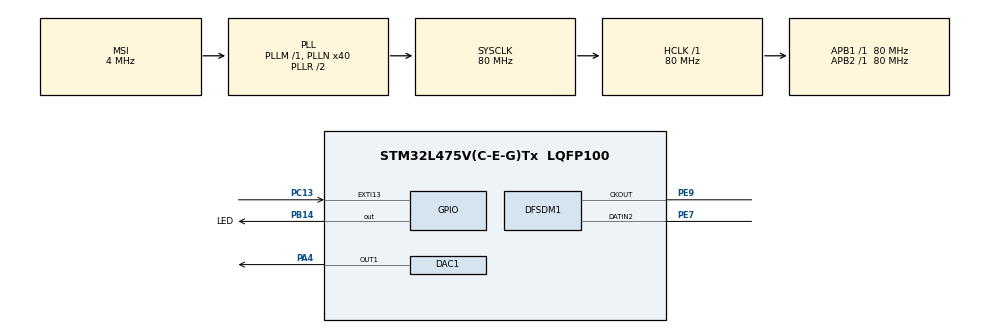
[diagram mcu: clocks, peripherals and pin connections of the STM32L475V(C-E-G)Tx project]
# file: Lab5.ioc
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DAC1.DAC_Trigger-DAC_OUT1=DAC_TRIGGER_T2_TRGO
DFSDM1.Divider=40
DFSDM1.DmaMode_reg_FIL0=ENABLE
DFSDM1.FastMode_reg_FIL0=ENABLE
DFSDM1.Filter_injChannel2_FIL0=__NULL
DFSDM1.Filter_regChannel_FIL0=DFSDM_CHANNEL_2
DFSDM1.Filter_regChannel_FIL1=__NULL
DFSDM1.Fosr_FIL0=500
DFSDM1.SincOrder_FIL0=DFSDM_FILTER_SINC1_ORDER
Dma.DAC_CH1.1.Direction=DMA_MEMORY_TO_PERIPH
Dma.DAC_CH1.1.Instance=DMA1_Channel3
Dma.DAC_CH1.1.MemDataAlignment=DMA_MDATAALIGN_WORD
Dma.DAC_CH1.1.MemInc=DMA_MINC_ENABLE
Dma.DAC_CH1.1.Mode=DMA_CIRCULAR
Dma.DAC_CH1.1.PeriphDataAlignment=DMA_PDATAALIGN_WORD
Dma.DAC_CH1.1.PeriphInc=DMA_PINC_DISABLE
Dma.DAC_CH1.1.Priority=DMA_PRIORITY_LOW
Dma.DFSDM1_FLT0.0.Direction=DMA_PERIPH_TO_MEMORY
Dma.DFSDM1_FLT0.0.Instance=DMA1_Channel4
Dma.DFSDM1_FLT0.0.MemDataAlignment=DMA_MDATAALIGN_WORD
Dma.DFSDM1_FLT0.0.MemInc=DMA_MINC_ENABLE
Dma.DFSDM1_FLT0.0.Mode=DMA_CIRCULAR
Dma.DFSDM1_FLT0.0.PeriphDataAlignment=DMA_PDATAALIGN_WORD
Dma.DFSDM1_FLT0.0.PeriphInc=DMA_PINC_DISABLE
Dma.DFSDM1_FLT0.0.Priority=DMA_PRIORITY_LOW
Dma.Request0=DFSDM1_FLT0
Dma.Request1=DAC_CH1
Mcu.Family=STM32L4
Mcu.Name=STM32L475V(C-E-G)Tx
Mcu.Package=LQFP100
NVIC.DMA1_Channel3_IRQn=true\:0\:0\:false\:false\:true\:false\:true
NVIC.DMA1_Channel4_IRQn=true\:0\:0\:false\:false\:true\:false\:true
NVIC.EXTI15_10_IRQn=true\:0\:0\:false\:false\:true\:true\:true
NVIC.PriorityGroup=NVIC_PRIORITYGROUP_4
NVIC.TIM2_IRQn=true\:0\:0\:false\:false\:true\:true\:true
PA4.Signal=COMP_DAC11_group
PB14.GPIO_Label=LED
PB14.Signal=GPIO_Output
PC13.Signal=GPXTI13
PE7.Signal=S_DATAIN2DFSDM1
PE9.Signal=S_CKOUTDFSDM1
ProjectManager.HeapSize=0x200
ProjectManager.StackSize=0x400
ProjectManager.TargetToolchain=STM32CubeIDE
RCC.ADCFreq_Value=48000000
RCC.AHBFreq_Value=80000000
RCC.APB1Freq_Value=80000000
RCC.APB1TimFreq_Value=80000000
RCC.APB2Freq_Value=80000000
RCC.APB2TimFreq_Value=80000000
RCC.CortexFreq_Value=80000000
RCC.HCLKFreq_Value=80000000
RCC.HSE_VALUE=8000000
RCC.HSI_VALUE=16000000
RCC.LSE_VALUE=32768
RCC.MSI_VALUE=4000000
RCC.PLLN=40
RCC.PLLSAI1N=24
RCC.SYSCLKFreq_VALUE=80000000
RCC.SYSCLKSource=RCC_SYSCLKSOURCE_PLLCLK
RCC.USBFreq_Value=48000000
RCC.VCOOutputFreq_Value=160000000
SH.COMP_DAC11_group.0=DAC1_OUT1,DAC_OUT1
SH.S_CKOUTDFSDM1.0=DFSDM1_CKOUT,PDM_SPI_input_from_ch2_and_internal_clock
SH.S_CKOUTDFSDM1.1=DFSDM1_CKOUT,CKOUT
SH.S_DATAIN2DFSDM1.0=DFSDM1_DATIN2,PDM_SPI_input_from_ch2_and_internal_clock
TIM2.Period=20000
TIM2.TIM_MasterOutputTrigger=TIM_TRGO_UPDATE
VP_TIM2_VS_ClockSourceINT.Mode=Internal
board=B-L475E-IOT01A1

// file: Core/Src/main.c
/* USER CODE BEGIN Header */
/**
  ******************************************************************************
  * @file           : main.c
  * @brief          : Main program body
  ******************************************************************************
  * @attention
  *
  * <h2><center>&copy; Copyright (c) 2020 STMicroelectronics.
  * All rights reserved.</center></h2>
  *
  * This software component is licensed by ST under BSD 3-Clause license,
  * the "License"; You may not use this file except in compliance with the
  * License. You may obtain a copy of the License at:
  *                        opensource.org/licenses/BSD-3-Clause
  *
  ******************************************************************************
  */
/* USER CODE END Header */
#include "main.h"

DAC_HandleTypeDef hdac1;
DMA_HandleTypeDef hdma_dac_ch1;

DFSDM_Filter_HandleTypeDef hdfsdm1_filter0;
DFSDM_Channel_HandleTypeDef hdfsdm1_channel2;
DMA_HandleTypeDef hdma_dfsdm1_flt0;

TIM_HandleTypeDef htim2;

/* USER CODE BEGIN PV */
#define LENGTH	12000
int32_t record[LENGTH];
uint32_t play[LENGTH];
int recording = 0;

/* USER CODE END PV */

void SystemClock_Config(void);
static void MX_GPIO_Init(void);
static void MX_DMA_Init(void);
static void MX_DAC1_Init(void);
static void MX_DFSDM1_Init(void);
static void MX_TIM2_Init(void);

int main(void)
{
  /* USER CODE BEGIN 1 */
//uint16_t i = 0;
  /* USER CODE END 1 */

  /* MCU Configuration--------------------------------------------------------*/

  /* Reset of all peripherals, Initializes the Flash interface and the Systick. */
  HAL_Init();

  /* Configure the system clock */
  SystemClock_Config();

  /* Initialize all configured peripherals */
  MX_GPIO_Init();
  MX_DMA_Init();
  MX_DAC1_Init();
  MX_DFSDM1_Init();
  MX_TIM2_Init();
  /* USER CODE BEGIN 2 */
  /* USER CODE BEGIN 2 */
  HAL_TIM_Base_Start_IT(&htim2);

  /* USER CODE END 2 */

  /* Infinite loop */
  while (1)
  {

  }
}

void SystemClock_Config(void)
{
  RCC_OscInitTypeDef RCC_OscInitStruct = {0};
  RCC_ClkInitTypeDef RCC_ClkInitStruct = {0};
  RCC_PeriphCLKInitTypeDef PeriphClkInit = {0};

  /** Initializes the RCC Oscillators according to the specified parameters
  * in the RCC_OscInitTypeDef structure.
  */
  RCC_OscInitStruct.OscillatorType = RCC_OSCILLATORTYPE_MSI;
  RCC_OscInitStruct.MSIState = RCC_MSI_ON;
  RCC_OscInitStruct.MSICalibrationValue = 0;
  RCC_OscInitStruct.MSIClockRange = RCC_MSIRANGE_6;
  RCC_OscInitStruct.PLL.PLLState = RCC_PLL_ON;
  RCC_OscInitStruct.PLL.PLLSource = RCC_PLLSOURCE_MSI;
  RCC_OscInitStruct.PLL.PLLM = 1;
  RCC_OscInitStruct.PLL.PLLN = 40;
  RCC_OscInitStruct.PLL.PLLP = RCC_PLLP_DIV7;
  RCC_OscInitStruct.PLL.PLLQ = RCC_PLLQ_DIV2;
  RCC_OscInitStruct.PLL.PLLR = RCC_PLLR_DIV2;
  if (HAL_RCC_OscConfig(&RCC_OscInitStruct) != HAL_OK)
  {
    Error_Handler();
  }
  /** Initializes the CPU, AHB and APB buses clocks
  */
  RCC_ClkInitStruct.ClockType = RCC_CLOCKTYPE_HCLK|RCC_CLOCKTYPE_SYSCLK
                              |RCC_CLOCKTYPE_PCLK1|RCC_CLOCKTYPE_PCLK2;
  RCC_ClkInitStruct.SYSCLKSource = RCC_SYSCLKSOURCE_PLLCLK;
  RCC_ClkInitStruct.AHBCLKDivider = RCC_SYSCLK_DIV1;
  RCC_ClkInitStruct.APB1CLKDivider = RCC_HCLK_DIV1;
  RCC_ClkInitStruct.APB2CLKDivider = RCC_HCLK_DIV1;

  if (HAL_RCC_ClockConfig(&RCC_ClkInitStruct, FLASH_LATENCY_4) != HAL_OK)
  {
    Error_Handler();
  }
  PeriphClkInit.PeriphClockSelection = RCC_PERIPHCLK_DFSDM1;
  PeriphClkInit.Dfsdm1ClockSelection = RCC_DFSDM1CLKSOURCE_PCLK;
  if (HAL_RCCEx_PeriphCLKConfig(&PeriphClkInit) != HAL_OK)
  {
    Error_Handler();
  }
  /** Configure the main internal regulator output voltage
  */
  if (HAL_PWREx_ControlVoltageScaling(PWR_REGULATOR_VOLTAGE_SCALE1) != HAL_OK)
  {
    Error_Handler();
  }
}

static void MX_DAC1_Init(void)
{

  DAC_ChannelConfTypeDef sConfig = {0};

  /** DAC Initialization
  */
  hdac1.Instance = DAC1;
  if (HAL_DAC_Init(&hdac1) != HAL_OK)
  {
    Error_Handler();
  }
  /** DAC channel OUT1 config
  */
  sConfig.DAC_SampleAndHold = DAC_SAMPLEANDHOLD_DISABLE;
  sConfig.DAC_Trigger = DAC_TRIGGER_T2_TRGO;
  sConfig.DAC_OutputBuffer = DAC_OUTPUTBUFFER_ENABLE;
  sConfig.DAC_ConnectOnChipPeripheral = DAC_CHIPCONNECT_DISABLE;
  sConfig.DAC_UserTrimming = DAC_TRIMMING_FACTORY;
  if (HAL_DAC_ConfigChannel(&hdac1, &sConfig, DAC_CHANNEL_1) != HAL_OK)
  {
    Error_Handler();
  }

}

static void MX_DFSDM1_Init(void)
{

  hdfsdm1_filter0.Instance = DFSDM1_Filter0;
  hdfsdm1_filter0.Init.RegularParam.Trigger = DFSDM_FILTER_SW_TRIGGER;
  hdfsdm1_filter0.Init.RegularParam.FastMode = ENABLE;
  hdfsdm1_filter0.Init.RegularParam.DmaMode = ENABLE;
  hdfsdm1_filter0.Init.FilterParam.SincOrder = DFSDM_FILTER_FASTSINC_ORDER;
  hdfsdm1_filter0.Init.FilterParam.Oversampling = 200;
  hdfsdm1_filter0.Init.FilterParam.IntOversampling = 1;
  if (HAL_DFSDM_FilterInit(&hdfsdm1_filter0) != HAL_OK)
  {
    Error_Handler();
  }
  hdfsdm1_channel2.Instance = DFSDM1_Channel2;
  hdfsdm1_channel2.Init.OutputClock.Activation = ENABLE;
  hdfsdm1_channel2.Init.OutputClock.Selection = DFSDM_CHANNEL_OUTPUT_CLOCK_SYSTEM;
  hdfsdm1_channel2.Init.OutputClock.Divider = 25;
  hdfsdm1_channel2.Init.Input.Multiplexer = DFSDM_CHANNEL_EXTERNAL_INPUTS;
  hdfsdm1_channel2.Init.Input.DataPacking = DFSDM_CHANNEL_STANDARD_MODE;
  hdfsdm1_channel2.Init.Input.Pins = DFSDM_CHANNEL_SAME_CHANNEL_PINS;
  hdfsdm1_channel2.Init.SerialInterface.Type = DFSDM_CHANNEL_SPI_RISING;
  hdfsdm1_channel2.Init.SerialInterface.SpiClock = DFSDM_CHANNEL_SPI_CLOCK_INTERNAL;
  hdfsdm1_channel2.Init.Awd.FilterOrder = DFSDM_CHANNEL_FASTSINC_ORDER;
  hdfsdm1_channel2.Init.Awd.Oversampling = 1;
  hdfsdm1_channel2.Init.Offset = 0;
  hdfsdm1_channel2.Init.RightBitShift = 0x00;
  if (HAL_DFSDM_ChannelInit(&hdfsdm1_channel2) != HAL_OK)
  {
    Error_Handler();
  }
  if (HAL_DFSDM_FilterConfigRegChannel(&hdfsdm1_filter0, DFSDM_CHANNEL_2, DFSDM_CONTINUOUS_CONV_ON) != HAL_OK)
  {
    Error_Handler();
  }

}

static void MX_TIM2_Init(void)
{

  TIM_ClockConfigTypeDef sClockSourceConfig = {0};
  TIM_MasterConfigTypeDef sMasterConfig = {0};

  htim2.Instance = TIM2;
  htim2.Init.Prescaler = 0;
  htim2.Init.CounterMode = TIM_COUNTERMODE_UP;
  htim2.Init.Period = 5000;
  htim2.Init.ClockDivision = TIM_CLOCKDIVISION_DIV1;
  htim2.Init.AutoReloadPreload = TIM_AUTORELOAD_PRELOAD_DISABLE;
  if (HAL_TIM_Base_Init(&htim2) != HAL_OK)
  {
    Error_Handler();
  }
  sClockSourceConfig.ClockSource = TIM_CLOCKSOURCE_INTERNAL;
  if (HAL_TIM_ConfigClockSource(&htim2, &sClockSourceConfig) != HAL_OK)
  {
    Error_Handler();
  }
  sMasterConfig.MasterOutputTrigger = TIM_TRGO_UPDATE;
  sMasterConfig.MasterSlaveMode = TIM_MASTERSLAVEMODE_DISABLE;
  if (HAL_TIMEx_MasterConfigSynchronization(&htim2, &sMasterConfig) != HAL_OK)
  {
    Error_Handler();
  }

}

static void MX_DMA_Init(void)
{

  /* DMA controller clock enable */
  __HAL_RCC_DMA1_CLK_ENABLE();

  /* DMA interrupt init */
  /* DMA1_Channel3_IRQn interrupt configuration */
  HAL_NVIC_SetPriority(DMA1_Channel3_IRQn, 0, 0);
  HAL_NVIC_EnableIRQ(DMA1_Channel3_IRQn);
  /* DMA1_Channel4_IRQn interrupt configuration */
  HAL_NVIC_SetPriority(DMA1_Channel4_IRQn, 0, 0);
  HAL_NVIC_EnableIRQ(DMA1_Channel4_IRQn);

}

static void MX_GPIO_Init(void)
{
  GPIO_InitTypeDef GPIO_InitStruct = {0};

  /* GPIO Ports Clock Enable */
  __HAL_RCC_GPIOC_CLK_ENABLE();
  __HAL_RCC_GPIOA_CLK_ENABLE();
  __HAL_RCC_GPIOE_CLK_ENABLE();
  __HAL_RCC_GPIOB_CLK_ENABLE();

  /*Configure GPIO pin Output Level */
  HAL_GPIO_WritePin(LED_GPIO_Port, LED_Pin, GPIO_PIN_RESET);

  /*Configure GPIO pin : PC13 */
  GPIO_InitStruct.Pin = GPIO_PIN_13;
  GPIO_InitStruct.Mode = GPIO_MODE_IT_RISING;
  GPIO_InitStruct.Pull = GPIO_NOPULL;
  HAL_GPIO_Init(GPIOC, &GPIO_InitStruct);

  /*Configure GPIO pin : LED_Pin */
  GPIO_InitStruct.Pin = LED_Pin;
  GPIO_InitStruct.Mode = GPIO_MODE_OUTPUT_PP;
  GPIO_InitStruct.Pull = GPIO_NOPULL;
  GPIO_InitStruct.Speed = GPIO_SPEED_FREQ_LOW;
  HAL_GPIO_Init(LED_GPIO_Port, &GPIO_InitStruct);

  /* EXTI interrupt init*/
  HAL_NVIC_SetPriority(EXTI15_10_IRQn, 0, 0);
  HAL_NVIC_EnableIRQ(EXTI15_10_IRQn);

}

/* USER CODE BEGIN 4 */
// if the butten is recording, then start recording
void HAL_GPIO_EXTI_Callback(uint16_t GPIO_PIN){
	//button pressed
	if(GPIO_PIN == GPIO_PIN_13){
		if(recording == 0){
			HAL_DFSDM_FilterRegularStart_DMA(&hdfsdm1_filter0, record, LENGTH);	//Start regular conversion
			//HAL_GPIO_TogglePin(LED_GPIO_Port, LED_Pin);						//for debugging use
			recording = 1;
		}else{

			//HAL_GPIO_TogglePin(LED_GPIO_Port, LED_Pin);						//for debugging use
			HAL_DAC_Stop_DMA(&hdac1, DAC_CHANNEL_1);
			for(int i=0;i<LENGTH;i++){
				play[i] = 0;
				record[i] = 0;
			}
			recording = 0;
		}
	}
}

//at the half transfer and at the transfer complete
void HAL_DFSDM_FilterRegConvHalfCpltCallback(DFSDM_Filter_HandleTypeDef *hdfsdm_filter){
	//DmaRecHalfBuffCplt = 1;
	/*
	for(int i=0;i<LENGTH/2;i++){
		play[i] = record[i]>>8;
		//play[i] = play[i] & 0x00FFFFFF;
		play[i] = play[i] & 0x00000FFF;
		//play[i] = play[i] & 0xFFFFFF00;
	}*/

}

//Regular conversion complete callback.
void HAL_DFSDM_FilterRegConvCpltCallback(DFSDM_Filter_HandleTypeDef *hdfsdm_filter){
	//DmaRecBuffCplt = 1;
	for(int i=0;i<LENGTH/2;i++){
		play[i] = record[i]>>8;
		//play[i] = play[i] & 0x00FFFFFF;
		play[i] = play[i] & 0x00000FFF;
		//play[i] = play[i] & 0xFFFFFF00;
	}
	for(int i = LENGTH/2;i<LENGTH;i++){
		//play[i] = record[i]>>20;
		play[i] = record[i]>>8;
		play[i] = play[i] & 0x00000FFF;
		//play[i] = play[i] & 0x00FFFFFF;
		//play[i] = play[i] & 0xFFFFFF00;
	}

	HAL_DFSDM_FilterRegularStop_DMA(&hdfsdm1_filter0);								//stop regular conversion in DMA mode
	HAL_DAC_Start_DMA(&hdac1, DAC_CHANNEL_1, play, LENGTH, DAC_ALIGN_12B_R);
}
/* USER CODE END 4 */

void Error_Handler(void)
{
}

/************************ (C) COPYRIGHT STMicroelectronics *****END OF FILE****/
